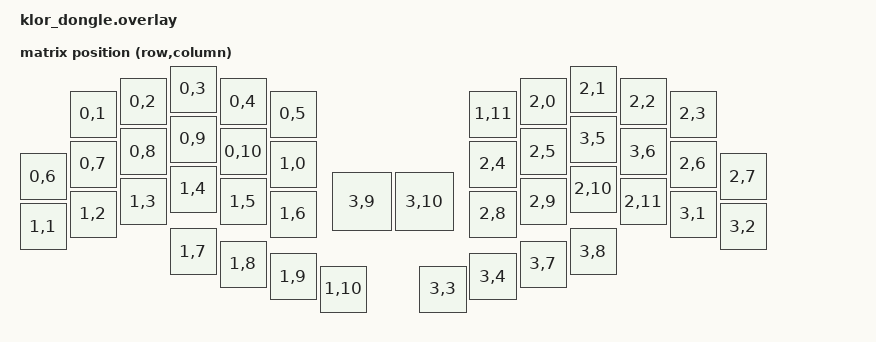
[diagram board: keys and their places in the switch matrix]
#include <dt-bindings/zmk/matrix_transform.h>
#include <physical_layouts.dtsi>

/ {
    chosen {
        zmk,kscan = &mock_kscan;
        zmk,physical-layout = &physical_layout;
    };

    mock_kscan: mock_kscan_0 {
        compatible = "zmk,kscan-mock";
        columns = <0>;
        rows = <0>;
        events = <0>;
    };

    default_transform: keymap_transform_0 {
      compatible = "zmk,matrix-transform";
      columns = <12>;
      rows = <4>;
      map = <
          RC(0,1) RC(0,2) RC(0,3) RC(0,4) RC(0,5)                 RC(0,6) RC(0,7) RC(0,8) RC(0,9) RC(0,10)
  RC(1,0) RC(1,1) RC(1,2) RC(1,3) RC(1,4) RC(1,5)                 RC(1,6) RC(1,7) RC(1,8) RC(1,9) RC(1,10) RC(1,11)
  RC(2,0) RC(2,1) RC(2,2) RC(2,3) RC(2,4) RC(2,5) RC(3,5) RC(3,6) RC(2,6) RC(2,7) RC(2,8) RC(2,9) RC(2,10) RC(2,11)
                          RC(3,1) RC(3,2) RC(3,3) RC(3,4) RC(3,7) RC(3,8) RC(3,9) RC(3,10)
      >;
	};

  physical_layout: physical_layout {
    compatible = "zmk,physical-layout";
    display-name = "Klor 42";
    transform = <&default_transform>;

              keys  //                     w   h    x    y     rot    rx    ry
            = <&key_physical_attrs 100 100  100   50       0     0     0>
            , <&key_physical_attrs 100 100  200   25       0     0     0>
            , <&key_physical_attrs 100 100  300    0       0     0     0>
            , <&key_physical_attrs 100 100  400   25       0     0     0>
            , <&key_physical_attrs 100 100  500   50       0     0     0>
            , <&key_physical_attrs 100 100    0  175       0     0     0>
            , <&key_physical_attrs 100 100  100  150       0     0     0>
            , <&key_physical_attrs 100 100  200  125       0     0     0>
            , <&key_physical_attrs 100 100  300  100       0     0     0>
            , <&key_physical_attrs 100 100  400  125       0     0     0>
            , <&key_physical_attrs 100 100  500  150       0     0     0>
            , <&key_physical_attrs 100 100    0  275       0     0     0>
            , <&key_physical_attrs 100 100  100  250       0     0     0>
            , <&key_physical_attrs 100 100  200  225       0     0     0>
            , <&key_physical_attrs 100 100  300  200       0     0     0>
            , <&key_physical_attrs 100 100  400  225       0     0     0>
            , <&key_physical_attrs 100 100  500  250       0     0     0>
            , <&key_physical_attrs 100 100  300  325       0     0     0>
            , <&key_physical_attrs 100 100  400  350       0     0     0>
            , <&key_physical_attrs 100 100  500  375       0     0     0>
            , <&key_physical_attrs 100 100  600  400       0     0     0>
            , <&key_physical_attrs 100 100  900   50       0     0     0>
            , <&key_physical_attrs 100 100 1000   25       0     0     0>
            , <&key_physical_attrs 100 100 1100    0       0     0     0>
            , <&key_physical_attrs 100 100 1200   25       0     0     0>
            , <&key_physical_attrs 100 100 1300   50       0     0     0>
            , <&key_physical_attrs 100 100  900  150       0     0     0>
            , <&key_physical_attrs 100 100 1000  125       0     0     0>
            , <&key_physical_attrs 100 100 1100  100       0     0     0>
            , <&key_physical_attrs 100 100 1200  125       0     0     0>
            , <&key_physical_attrs 100 100 1300  150       0     0     0>
            , <&key_physical_attrs 100 100 1400  175       0     0     0>
            , <&key_physical_attrs 100 100  900  250       0     0     0>
            , <&key_physical_attrs 100 100 1000  225       0     0     0>
            , <&key_physical_attrs 100 100 1100  200       0     0     0>
            , <&key_physical_attrs 100 100 1200  225       0     0     0>
            , <&key_physical_attrs 100 100 1300  250       0     0     0>
            , <&key_physical_attrs 100 100 1400  275       0     0     0>
            , <&key_physical_attrs 100 100  800  400       0     0     0>
            , <&key_physical_attrs 100 100  900  375       0     0     0>
            , <&key_physical_attrs 100 100 1000  350       0     0     0>
            , <&key_physical_attrs 100 100 1100  325       0     0     0>
            , <&key_physical_attrs 125 125  625  212       0     0     0>
            , <&key_physical_attrs 125 125  750  212       0     0     0>
            ;
};
};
